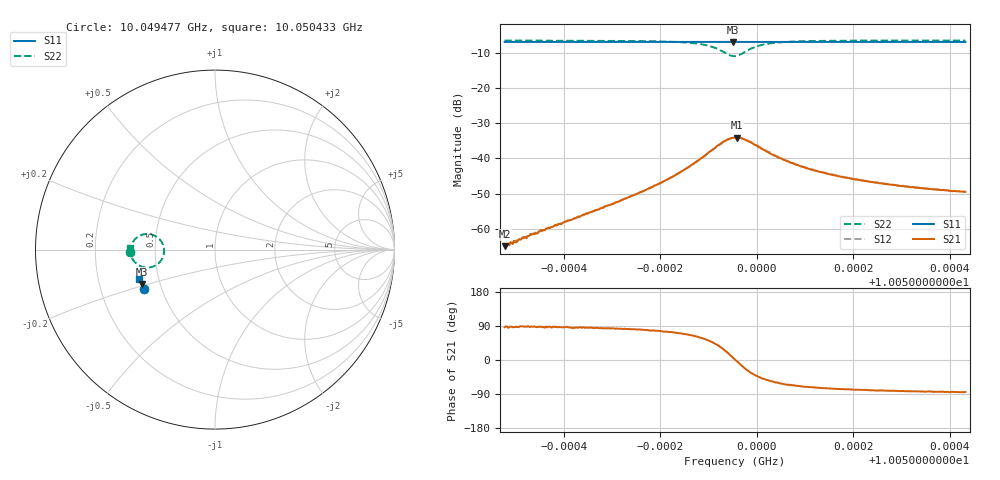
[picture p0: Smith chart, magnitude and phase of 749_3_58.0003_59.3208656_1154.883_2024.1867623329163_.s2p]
#  HZ  S  RI  R  50.00
! Rohde & Schwarz Vector Network Analyzer
! Rohde-Schwarz,ZNB20-2Port,1311601062101988,3.16
! Created: UTC 3/21/2024, 1:23:55 AM
! freq[Hz]  re:S11  im:S11  re:S21  im:S21  re:S12  im:S12  re:S22  im:S22
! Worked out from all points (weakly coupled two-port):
!   401 points, 10.049477 GHz to 10.050433 GHz, reference 50 ohm
!   highest |S21| = -34.07 dB at 10.04996 GHz (marker M1); lowest = -64.9 dB at 10.049477 GHz (marker M2)
!   lowest |S11| = -6.9 dB at 10.04995 GHz (marker M3), VSWR 2.64, Z = 19.7 - j9.55 ohm
!   |S11| at or under -10 dB: nowhere
!   |S22| runs from -10.9 to -6.5 dB; largest |S21 - S12| = 0.0017
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1.00494773e10  -0.3961 -0.2214  3.55e-05 0.000564  -2.07e-05 0.000594  -0.474 -0.0144
1.00494869e10  -0.3964 -0.2208  4.15e-05 0.00058  -3.91e-05 0.000619  -0.4738 -0.0135
1.00494988e10  -0.3967 -0.22  3.5e-05 0.000649  -1.14e-05 0.000668  -0.4737 -0.0122
1.00495179e10  -0.3973 -0.219  2.98e-05 0.000751  -3.6e-05 0.000749  -0.4736 -0.0101
1.00496373e10  -0.401 -0.2119  0.000145 0.00154  2.66e-05 0.00154  -0.4716 0.00517
1.00497185e10  -0.4033 -0.2069  0.000329 0.0025  0.000176 0.00251  -0.468 0.0193
1.00497973e10  -0.4055 -0.202  0.000983 0.00426  0.000765 0.00431  -0.4589 0.0403
1.00498403e10  -0.4065 -0.1993  0.00209 0.00593  0.00173 0.00604  -0.4458 0.0577
1.00498904e10  -0.4075 -0.1959  0.00596 0.0089  0.00531 0.00917  -0.4051 0.0831
1.00499239e10  -0.4078 -0.1938  0.0131 0.0091  0.0122 0.01  -0.3376 0.0786
1.00499382e10  -0.4077 -0.1931  0.0173 0.00649  0.0165 0.00766  -0.3022 0.05
1.00499501e10  -0.4075 -0.1927  0.0195 0.00225  0.0191 0.00389  -0.2849 0.00882
1.00499549e10  -0.4076 -0.1927  0.0197 0.000355  0.0196 0.00198  -0.2836 -0.0103
1.00499597e10  -0.4079 -0.1925  0.0197 -0.00158  0.0197 1.86e-05  -0.2863 -0.0291
1.00499836e10  -0.4087 -0.1922  0.0151 -0.00878  0.0159 -0.00755  -0.3382 -0.0919
1.0050017e10  -0.4103 -0.1904  0.00823 -0.0101  0.00896 -0.00953  -0.4091 -0.0949
1.00500433e10  -0.4114 -0.1886  0.00531 -0.00901  0.00585 -0.00891  -0.4366 -0.0794
1.00500743e10  -0.4123 -0.1867  0.00332 -0.00792  0.0039 -0.00767  -0.4532 -0.0625
1.00501149e10  -0.4136 -0.1842  0.00215 -0.00656  0.00254 -0.0065  -0.4635 -0.0459
1.00501937e10  -0.4156 -0.1793  0.0011 -0.00508  0.00144 -0.00503  -0.4709 -0.0245
1.00502749e10  -0.4176 -0.1742  0.000683 -0.00419  0.000894 -0.00422  -0.4735 -0.0102
1.00504325e10  -0.4213 -0.1646  0.000325 -0.00333  0.000499 -0.00335  -0.4749 0.00942
